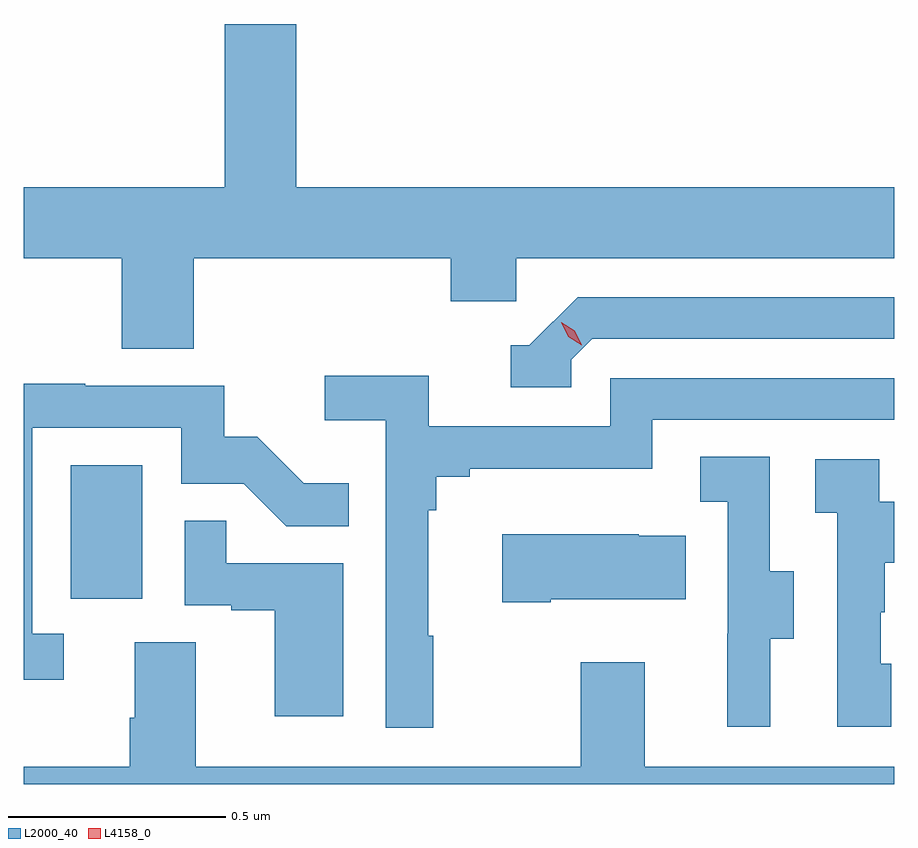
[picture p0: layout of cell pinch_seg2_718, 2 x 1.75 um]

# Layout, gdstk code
import gdstk
lib = gdstk.Library(unit=1e-6, precision=1e-09)
def R(c, l, rs):  # rectangles x0, y0, x1, y1
    for r in rs: c.add(gdstk.rectangle(r[:2], r[2:], *l))
def P(c, l, *ps):  # polygons
    for p in ps: c.add(gdstk.Polygon(p, *l))
L2000_40 = (2000, 40)
L4158_0 = (4158, 0)

pinch_seg2_718 = lib.new_cell('pinch_seg2_718')
R(pinch_seg2_718, L2000_40, [(1123.694,593.574,1123.858,593.881)])
P(pinch_seg2_718, L2000_40, [(1123.976,594.356),(1124.567,594.356),(1124.567,594.258),(1124.718,594.258),(1124.718,594.356),(1125.586,594.356),(1125.586,594.52),(1124.212,594.52),(1124.212,594.895),(1124.048,594.895),(1124.048,594.52),(1123.586,594.52),(1123.586,594.356),(1123.811,594.356),(1123.811,594.148),(1123.976,594.148)],
  [(1124.844,594.123),(1124.892,594.171),(1125.586,594.171),(1125.586,594.267),(1124.859,594.267),(1124.748,594.156),(1124.705,594.156),(1124.705,594.06),(1124.844,594.06)],
  [(1124.527,593.489),(1124.515,593.489),(1124.515,593.777),(1124.534,593.777),(1124.534,593.854),(1124.611,593.854),(1124.611,593.873),(1125.03,593.873),(1125.03,593.985),(1125.586,593.985),(1125.586,594.081),(1124.934,594.081),(1124.934,593.97),(1124.516,593.97),(1124.516,594.086),(1124.277,594.086),(1124.277,593.984),(1124.418,593.984),(1124.418,593.277),(1124.527,593.277)],
  [(1123.678,593.493),(1123.605,593.493),(1123.605,593.967),(1123.947,593.967),(1123.947,593.838),(1124.091,593.838),(1124.189,593.74),(1124.333,593.74),(1124.333,593.839),(1124.229,593.839),(1124.122,593.946),(1124.046,593.946),(1124.046,594.063),(1123.727,594.063),(1123.727,594.068),(1123.586,594.068),(1123.586,593.388),(1123.678,593.388)],
  [(1125.301,593.482),(1125.355,593.482),(1125.355,593.637),(1125.3,593.637),(1125.3,593.9),(1125.141,593.9),(1125.141,593.797),(1125.204,593.797),(1125.204,593.493),(1125.203,593.493),(1125.203,593.28),(1125.301,593.28)],
  [(1125.58,593.424),(1125.555,593.424),(1125.555,593.543),(1125.565,593.543),(1125.565,593.657),(1125.586,593.657),(1125.586,593.797),(1125.552,593.797),(1125.552,593.895),(1125.405,593.895),(1125.405,593.771),(1125.456,593.771),(1125.456,593.28),(1125.58,593.28)],
  [(1124.32,593.655),(1124.051,593.655),(1124.051,593.753),(1123.956,593.753),(1123.956,593.559),(1124.063,593.559),(1124.063,593.547),(1124.162,593.547),(1124.162,593.304),(1124.32,593.304)],
  [(1124.797,593.573),(1125.107,593.573),(1125.107,593.719),(1124.999,593.719),(1124.999,593.722),(1124.685,593.722),(1124.685,593.566),(1124.797,593.566)],
  [(1125.586,593.188),(1125.013,593.188),(1125.013,593.428),(1124.866,593.428),(1124.866,593.188),(1123.981,593.188),(1123.981,593.474),(1123.841,593.474),(1123.841,593.3),(1123.829,593.3),(1123.829,593.188),(1123.586,593.188),(1123.586,593.148),(1125.586,593.148)])
P(pinch_seg2_718, L4158_0, [(1124.868,594.157),(1124.837,594.176),(1124.821,594.209),(1124.821,594.209),(1124.821,594.209),(1124.852,594.19),(1124.868,594.158),(1124.868,594.157)])

lib.write_gds('pinch_seg2_718.gds')
